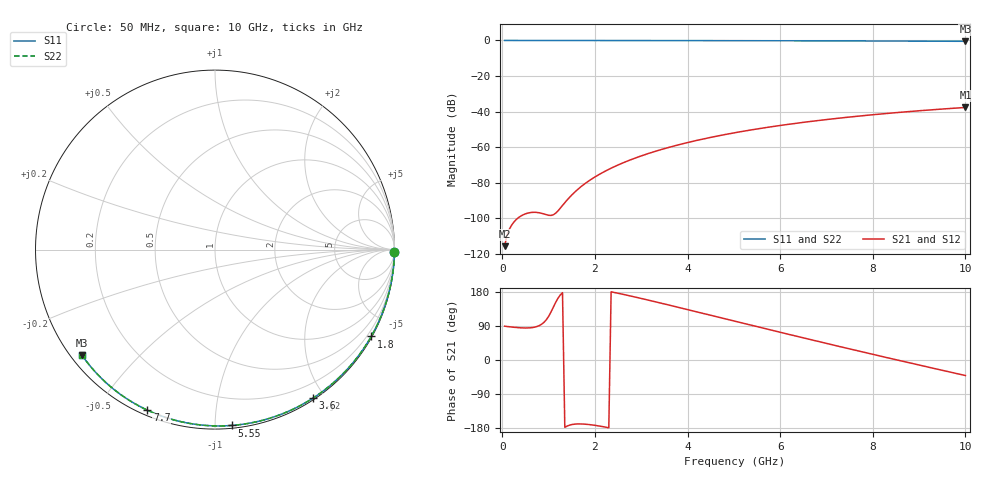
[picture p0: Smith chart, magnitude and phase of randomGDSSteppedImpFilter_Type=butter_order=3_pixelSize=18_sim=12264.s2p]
! freq	dB(S11)	phase(S11)	dB(S12)	phase(S12)
!  dB(S21)	phase(S21)	dB(S22)	phase(S22)
!S-par simulation data
#  GHz  S  DB  R 50
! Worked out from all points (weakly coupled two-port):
!   200 points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, 50 MHz to 10 GHz, reference 50 ohm
!   highest |S21| = -37.70 dB at 10 GHz (marker M1); lowest = -115.8 dB at 50 MHz (marker M2)
!   lowest |S11| = -0.5 dB at 10 GHz (marker M3), VSWR 36.35, Z = 1.54 - j17.4 ohm
!   |S11| at or under -10 dB: nowhere
!   |S22| runs from -0.5 to 0.0 dB; largest |S21 - S12| = 0
!   S11 on the Smith chart (normalised r, x): 50 MHz: open; 1.8 GHz: 0.03, -3.86; 3.6 GHz: 0.02, -1.85; 5.55 GHz: 0.02, -1.10; 7.7 GHz: 0.02, -0.66; 10 GHz: 0.03, -0.35
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0.05  -0.00 -0.8  -115.75 89.2  -115.75 89.2  -0.00 -0.8
0.45  -0.01 -7.4  -98.11 84.6  -98.11 84.6  -0.01 -7.4
0.9  -0.02 -14.7  -97.65 99.4  -97.65 99.4  -0.02 -14.7
1.3  -0.03 -21.1  -92.86 177.7  -92.86 177.7  -0.03 -21.1
1.75  -0.04 -28.3  -81.25 -169.0  -81.25 -169.0  -0.04 -28.3
1.8  -0.04 -29.1  -80.28 -169.5  -80.28 -169.5  -0.04 -29.1
1.85  -0.04 -29.9  -79.35 -170.0  -79.35 -170.0  -0.04 -29.9
2.05  -0.04 -33.0  -76.02 -173.3  -76.02 -173.3  -0.04 -33.0
2.2  -0.04 -35.4  -73.85 -176.5  -73.85 -176.5  -0.05 -35.4
2.55  -0.05 -40.8  -69.49 174.8  -69.49 174.8  -0.05 -40.8
2.95  -0.06 -47.0  -65.42 163.9  -65.42 163.9  -0.06 -47.0
3.4  -0.07 -53.8  -61.62 150.9  -61.62 150.9  -0.07 -53.8
3.6  -0.08 -56.7  -60.14 145.0  -60.14 145.0  -0.08 -56.8
4.3  -0.09 -67.0  -55.66 124.1  -55.66 124.1  -0.09 -67.0
5.05  -0.12 -77.7  -51.78 101.5  -51.78 101.5  -0.12 -77.7
5.55  -0.14 -84.6  -49.59 86.6  -49.59 86.6  -0.14 -84.6
6.1  -0.16 -92.0  -47.47 70.2  -47.47 70.2  -0.16 -92.0
6.7  -0.19 -100.0  -45.43 52.5  -45.43 52.5  -0.19 -100.0
7.7  -0.26 -112.9  -42.55 23.5  -42.55 23.5  -0.26 -112.9
8.35  -0.31 -121.0  -40.96 5.0  -40.96 5.0  -0.31 -121.1
9.2  -0.39 -131.6  -39.16 -18.8  -39.16 -18.8  -0.39 -131.7
10  -0.48 -141.6  -37.70 -41.0  -37.70 -41.0  -0.48 -141.6
